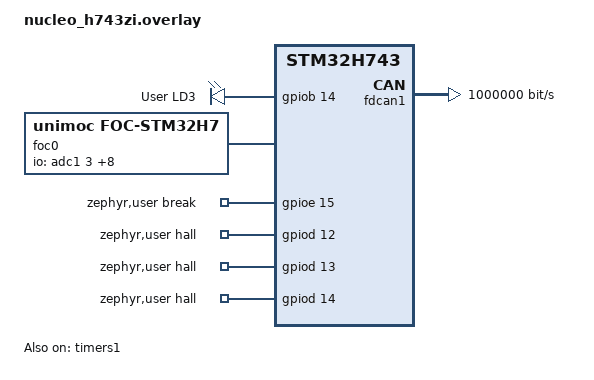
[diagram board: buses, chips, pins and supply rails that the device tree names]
/*
 * SPDX-License-Identifier: GPL-3.0-or-later
 *
 * UNIMOC on a NUCLEO-H743ZI (first revision, STM32H743ZI silicon rev. Y):
 * bring-up of the STM32H7 platform (hardware/zephyr_stm32h7) before the
 * Jacobi exists (docs/drive4850_h7_plan.md). The pins follow the Nucleo
 * adapter for the legacy 4850 power board (Tecnologic/unimoc_jacobi, branch
 * nucleo-adapter, nucleo_adapter/README.md): the enable is the break loop on
 * PE15 (J401), the TCAN334 has STB and SHDN tied low. Run on the board with
 * the outputs off (docs/hotpath_plan.md, section 4).
 *
 * Pins differ from the 4850 proposal where the Nucleo uses them: the
 * Ethernet PHY (PA1, PA2, PA7, PB13, PC1, PC4, PC5), the LEDs (LD1 PB0, LD2 PE1,
 * LD3 PB14) and the ST-LINK UART (PD8, PD9).
 */

/ {
	chosen {
		/* The hot path runs from ITCM (hardware/zephyr_stm32h7/hot_path_itcm.ld). */
		zephyr,itcm = &itcm;
	};

	/* Status LEDs of hardware/status_leds.hpp on LD1 (green), LD2 (yellow) and LD3 (red). */
	aliases {
		unimoc-led-run = &green_led;
		unimoc-led-pwm = &yellow_led;
		unimoc-led-error = &red_led;
	};

	/* LD3 (PB14) is a plain GPIO output here; the board file wires it to TIM12 PWM. */
	red_leds {
		compatible = "gpio-leds";
		red_led: led_red {
			gpios = <&gpiob 14 GPIO_ACTIVE_HIGH>;
			label = "User LD3";
		};
	};

	pwmleds {
		status = "disabled";
	};

	/*
	 * Power stage: TIM1, centre-aligned PWM on CH1..CH3 + CH1N..CH3N
	 * (PE8..PE13, all on port E as on the 4850 proposal). TRGO2 (rising
	 * OC4REF / OC6REF) starts the injected sequences of ADC1..ADC3 at the
	 * same instant. The end of the ADC1 sequence is the sample interrupt
	 * (zero latency), the TIM1 update vector the observer interrupt.
	 */
	foc0: foc-power-stage {
		compatible = "unimoc,foc-stm32h7";
		status = "okay";

		timer = <&timers1>;

		/*
		 * 4850 power board (LM5109B): 1 us as in the legacy
		 * firmware. Both power stages are designed for 200 ns (Jacobi, and
		 * the legacy board is capable of it); lower it after the scope check.
		 */
		dead-time-ns = <1000>;

		/*
		 * Legacy 4850 power board through the Nucleo adapter: three 2 mOhm
		 * shunts in parallel with an INA240A1 per phase (gain 20, as on
		 * Jacobi), 47k / 2k2 dividers on
		 * the adapter. 60 A trip as before, 60 V FETs (NCEP6080AG in the BOM).
		 */
		shunt-nano-ohm = <666667>;
		current-amplifier-gain = <20>;
		voltage-divider-ohms = <47000 2200>;
		max-phase-current-amps = <60>;
		max-motor-current-amps = <50>;
		battery-current-amps = <50 20>;
		dc-link-millivolts = <45000 48000 50000>;

		pinctrl-0 = <&tim1_ch1_pe9 &tim1_ch1n_pe8
			     &tim1_ch2_pe11 &tim1_ch2n_pe10
			     &tim1_ch3_pe13 &tim1_ch3n_pe12
			     &tim1_bkin_pe15
			     &analog_pa6 &analog_pf11 &analog_pf12
			     &analog_pb1 &analog_pf13 &analog_pf14
			     &analog_pc2_c &analog_pc3_c &analog_pf10>;
		pinctrl-names = "default";

		/* Three injected conversions per ADC, the phase current first. */
		io-channels = <&adc1 3>, <&adc1 2>, <&adc1 6>,   /* PA6 ia, PF11 va, PF12 bridge temp */
			      <&adc2 5>, <&adc2 2>, <&adc2 6>,   /* PB1 ib, PF13 vb, PF14 motor temp  */
			      <&adc3 0>, <&adc3 1>, <&adc3 6>;   /* PC2_C ic, PC3_C vdc, PF10 vc      */
		io-channel-names = "ia", "va", "bridge-temperature",
				   "ib", "vb", "motor-temperature",
				   "ic", "vdc", "vc";

		/*
		 * ADC clock cycles at 30 MHz (pll2_p 120 MHz / 4). Currents from
		 * INA240 outputs (low impedance): short. Dividers and NTCs: longer.
		 * Rank 1 is the same on all three ADCs, so vdc (rank 1 of ADC3) is
		 * converted when the ADC1 sequence ends.
		 */
		sample-times = "2.5", "16.5", "32.5",
			       "2.5", "16.5", "32.5",
			       "2.5", "16.5", "32.5";
	};

	zephyr,user {
		/* External enable on the net PWM_BREAK: PE15 is also TIM1_BKIN. Jumper to 3V3 to release. */
		break-gpios = <&gpioe 15 GPIO_ACTIVE_HIGH>;
		/* Hall sensors A, B, C (one port). */
		hall-gpios = <&gpiod 12 GPIO_ACTIVE_HIGH>,
			     <&gpiod 13 GPIO_ACTIVE_HIGH>,
			     <&gpiod 14 GPIO_ACTIVE_HIGH>;
	};
};

/* Open input: break. */
&tim1_bkin_pe15 {
	bias-pull-down;
};

/* Used by the foc0 driver: enables the timer and its IRQ vectors. */
&timers1 {
	status = "okay";
};

/*
 * The foc0 driver programs ADC1..3 itself; the Zephyr ADC driver would claim
 * them. The nodes stay in the tree for the registers, clocks and IRQs.
 */
&adc1 {
	status = "disabled";
};

&adc2 {
	status = "disabled";
};

&adc3 {
	status = "disabled";
};

/* The Ethernet PHY sits on analog pins of the 4850 proposal; not used. */
&mac {
	status = "disabled";
};

/*
 * Silicon rev. Y: at most 400 MHz. 8 MHz (ST-LINK MCO) / 2 * 200 / 2 =
 * 400 MHz core, HCLK 200 MHz, APB 100 MHz, TIM1 200 MHz. PLL2 stays as on
 * the board: P 120 MHz for the ADCs, Q 80 MHz for FDCAN1.
 */
&pll {
	mul-n = <200>;
};

&rcc {
	clock-frequency = <DT_FREQ_M(400)>;
};

/*
 * CAN on PD0/PD1 (board default) to an external transceiver module. 1 Mbit/s
 * in both phases: classic CAN transceivers do not switch the data phase.
 */
&fdcan1 {
	bitrate = <1000000>;
	sample-point = <875>;
	bitrate-data = <1000000>;
	sample-point-data = <875>;
};

/* Flash: MCUboot, the two image slots and the settings (dts/unimoc/stm32h743_flash_layout.dtsi). */
#include <unimoc/stm32h743_flash_layout.dtsi>

&timers12 {
	status = "disabled";
};
